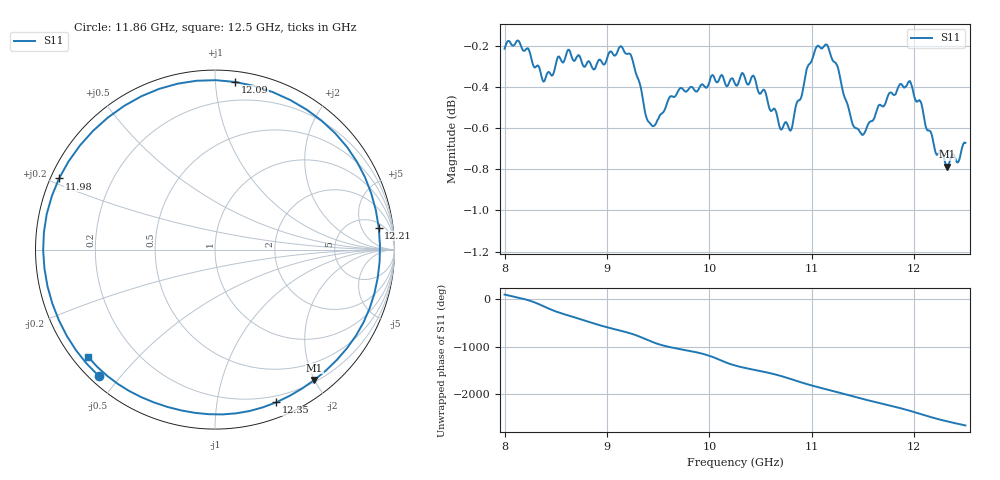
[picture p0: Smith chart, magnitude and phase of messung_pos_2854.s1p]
#  HZ  S  RI  R  50.00
! Rohde & Schwarz Vector Network Analyzer
! Rohde-Schwarz,ZNA43-4Port,1332450044101932,2.92
! Created: UTC 6/1/2026, 11:34:54 AM
! freq[Hz]  re:S11  im:S11
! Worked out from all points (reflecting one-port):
!   451 points, 8 GHz to 12.5 GHz, reference 50 ohm
!   lowest |S11| = -0.8 dB at 12.32 GHz (marker M1), VSWR 22.10, Z = 11.4 - j100 ohm
!   phase of S11 starts at 99 deg and turns -2759 deg over the sweep
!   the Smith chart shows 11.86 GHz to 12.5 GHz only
!   S11 on the Smith chart (normalised r, x): 11.86 GHz: 0.03, -0.44; 11.98 GHz: 0.02, +0.22; 12.09 GHz: 0.07, +1.13; 12.21 GHz: 7, +11; 12.35 GHz: 0.14, -1.47; 12.5 GHz: 0.04, -0.37
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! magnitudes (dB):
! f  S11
! 8 GHz  -0.2
! 8.14 GHz  -0.2
! 8.38 GHz  -0.4
! 8.57 GHz  -0.3
! 8.63 GHz  -0.2
! 8.87 GHz  -0.3
! 9.13 GHz  -0.2
! 9.24 GHz  -0.3
! 9.43 GHz  -0.6
! 9.69 GHz  -0.4
! 10.03 GHz  -0.3
! 10.25 GHz  -0.4
! 10.43 GHz  -0.3
! 10.7 GHz  -0.6
! 10.82 GHz  -0.6
! 10.96 GHz  -0.3
! 11.14 GHz  -0.2
! 11.25 GHz  -0.3
! 11.38 GHz  -0.5
! 11.5 GHz  -0.6
! 11.86 GHz  -0.4
! 11.94 GHz  -0.4
! 11.98 GHz  -0.4
! 12.09 GHz  -0.5
! 12.21 GHz  -0.7
! 12.32 GHz  -0.8
! 12.35 GHz  -0.8
! 12.5 GHz  -0.7
